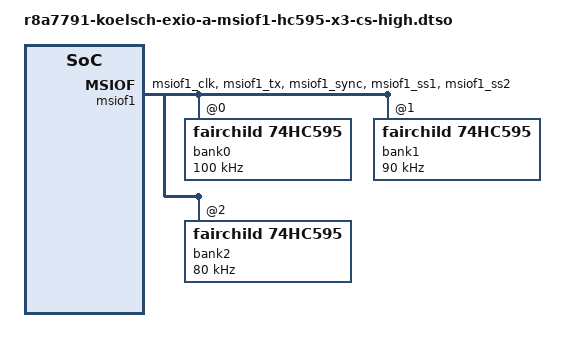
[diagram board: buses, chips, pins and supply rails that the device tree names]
// SPDX-License-Identifier: GPL-2.0
//
// Device Tree Overlay for MSIOF1 and 3-channel HC595 on r8a7791/koelsch EXIO A
// using active high hardware chipselects only
//
// Copyright (C) 2017 Glider bvba
//
// Pinout:
//   - SCK = EXIO A pin 46
//   - MOSI = EXIO A pin 54
//   - CS0# = EXIO A pin 48
//   - CS1# = EXIO A pin 50
//   - CS2# = EXIO A pin 52

/dts-v1/;
/plugin/;

#include <dt-bindings/gpio/gpio.h>

&pfc {
	msiof1_pins: msiof1 {
		groups = "msiof1_clk", "msiof1_tx",
			 "msiof1_sync", "msiof1_ss1",
			 "msiof1_ss2";
		function = "msiof1";
	};
};

&msiof1 {
	pinctrl-0 = <&msiof1_pins>;
	pinctrl-names = "default";

	#address-cells = <1>;
	#size-cells = <0>;
	num-cs = <3>;
	status = "okay";

	bank0: gpio@0 {
		compatible = "fairchild,74hc595";
		reg = <0>;

		gpio-controller;
		#gpio-cells = <2>;
		registers-number = <1>;
		spi-max-frequency = <100000>;
		spi-cs-high;
	};

	bank1: gpio@1 {
		compatible = "fairchild,74hc595";
		reg = <1>;

		gpio-controller;
		#gpio-cells = <2>;
		registers-number = <1>;
		spi-max-frequency = <90000>;
		spi-cs-high;
	};

	bank2: gpio@2 {
		compatible = "fairchild,74hc595";
		reg = <2>;

		gpio-controller;
		#gpio-cells = <2>;
		registers-number = <1>;
		spi-max-frequency = <80000>;
		spi-cs-high;
	};
};
